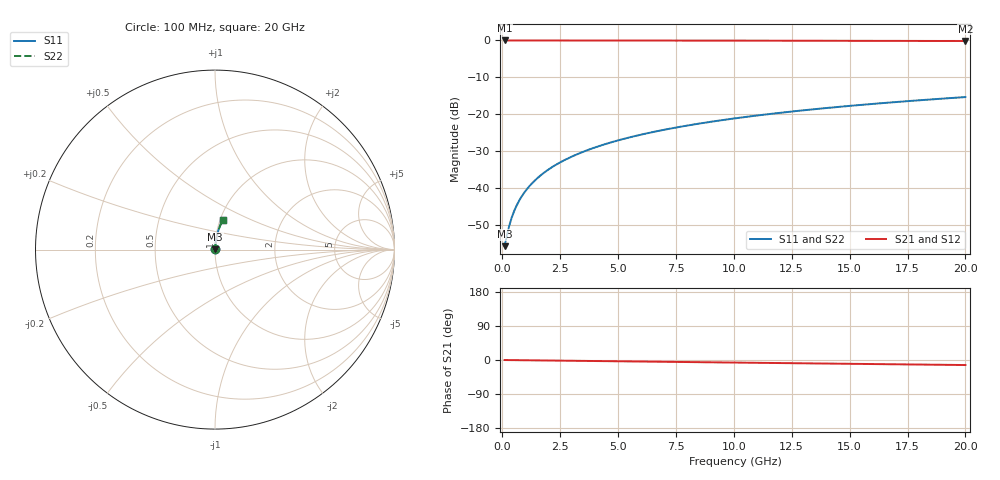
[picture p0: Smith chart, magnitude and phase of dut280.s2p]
! Touchstone file exported from HFSS 2026.1.0
!  File:  C:/ffzhzh/LocalFiles/Ansys_Project_Files/temp_train_TMRDL_280_1782985333_41620.aedt
!  Generated:  05:43:26 PM Jul  2, 2026
!  Design:  TMRDL
!  Project:  temp_train_TMRDL_280_1782985333_41620
! Variables:
!  h_bsmrdl = 2um
!  h_ox = 20um
!  h_rdl = 5um
!  h_sub = 80um
!  h_tmrdl = 2.89um
!  h_tsv = 80um
!  h_via = 3um
!  l_bsmrdl = 300um
!  l_sub = 523.88um
!  l_tmrdl = 123.88um
!  m_sub = 200um
!  pitch = 48.58um
!  r_tsv = 6um
!  s_tmrdl = 10um
!  w_bsmrdl = 18um
!  w_sub = 500um
!  w_tmrdl = 13.55um
!  x_tsv_center1 = 130.655um
!  x_tsv_center2 = 448.655um
!  x_tsv_center3 = 586.085um
!  x_tsv_center4 = 904.085um
!  x_tsv_center5 = 1041.515um
!  x_tsv_center6 = 1359.515um
# GHz S MA R 50.000000
! Terminal data exported
! Port[1] = TM_RDL1_1_T1
! Port[2] = TM_RDL1_1_T2
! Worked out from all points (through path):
!   200 points, 100 MHz to 20 GHz, reference 50 ohm
!   highest |S21| = -0.01 dB at 100 MHz (marker M1); lowest = -0.2 dB at 20 GHz (marker M2)
!   group delay of S21, straight-line fit = 1.85 ps
!   lowest |S11| = -55.7 dB at 100 MHz (marker M3), VSWR 1.00, Z = 50.1 + j0.0925 ohm
!   |S11| at or under -10 dB: start of sweep to end of sweep
!   |S22| runs from -55.7 to -15.4 dB; largest |S21 - S12| = 3.4e-15
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0.1  0.001632 34.4  0.9987 -0.1  0.9987 -0.1  0.001632 34.4
! Gamma 0 0 0 0
! Port Impedance 50 0 50 0
0.2  0.002292 53.5  0.9986 -0.1  0.9986 -0.1  0.002292 53.5
0.3  0.003084 63.2  0.9986 -0.2  0.9986 -0.2  0.003084 63.2
0.4  0.003923 68.7  0.9986 -0.3  0.9986 -0.3  0.003923 68.7
0.5  0.004779 72.2  0.9986 -0.3  0.9986 -0.3  0.004779 72.2
0.6  0.005642 74.6  0.9985 -0.4  0.9985 -0.4  0.005642 74.6
0.8  0.007376 77.7  0.9985 -0.6  0.9985 -0.6  0.007376 77.7
1.1  0.009989 80.3  0.9984 -0.8  0.9984 -0.8  0.009989 80.3
1.5  0.01349 82.2  0.9983 -1.0  0.9983 -1.0  0.01349 82.2
1.8  0.01612 83.0  0.9983 -1.2  0.9983 -1.2  0.01612 83.0
2.1  0.01875 83.6  0.9982 -1.4  0.9982 -1.4  0.01875 83.6
2.7  0.02403 84.1  0.998 -1.8  0.998 -1.8  0.02403 84.1
3.5  0.03107 84.4  0.9978 -2.4  0.9978 -2.4  0.03107 84.4
4.2  0.03722 84.3  0.9975 -2.9  0.9975 -2.9  0.03722 84.3
5  0.04423 84.1  0.9971 -3.4  0.9971 -3.4  0.04423 84.1
5.9  0.0521 83.7  0.9966 -4.0  0.9966 -4.0  0.0521 83.7
6.8  0.05994 83.3  0.996 -4.6  0.996 -4.6  0.05994 83.3
8.3  0.07293 82.5  0.9949 -5.6  0.9949 -5.6  0.07293 82.5
10.1  0.0884 81.4  0.9934 -6.8  0.9934 -6.8  0.0884 81.4
13.4  0.1164 79.4  0.99 -9.0  0.99 -9.0  0.1164 79.4
16.7  0.1438 77.4  0.986 -11.2  0.986 -11.2  0.1438 77.4
20  0.1708 75.3  0.9813 -13.3  0.9813 -13.3  0.1708 75.3
